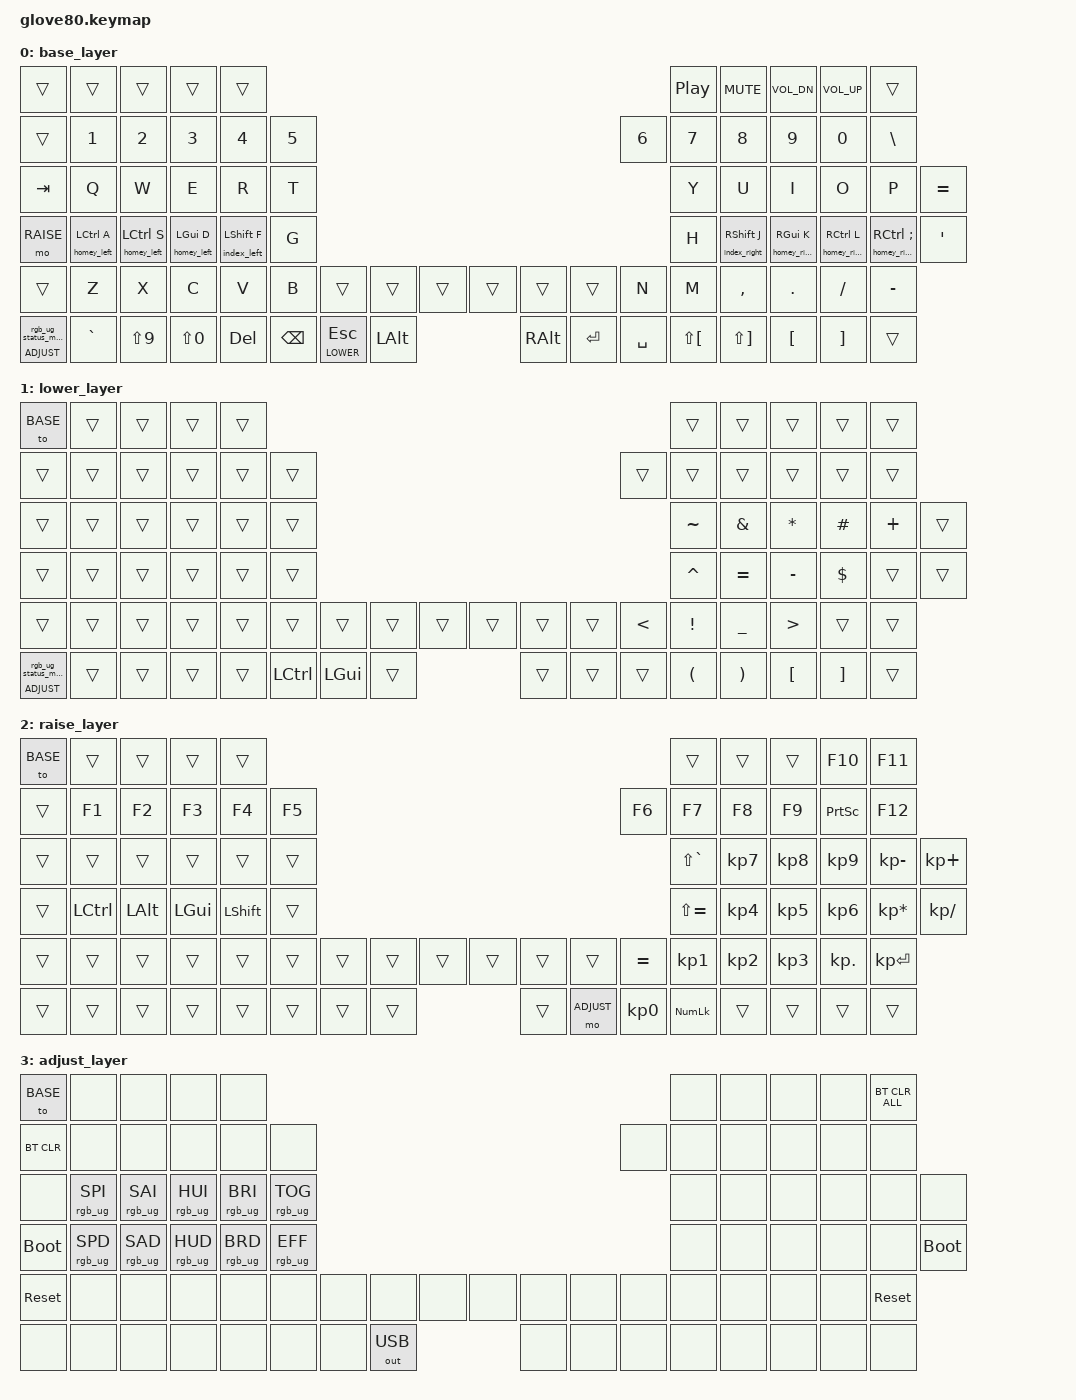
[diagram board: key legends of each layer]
/*
 * Copyright (c) 2020 The ZMK Contributors
 * Copyright (c) 2023 Innaworks Development Limited, trading as MoErgo
 *
 * SPDX-License-Identifier: MIT
 */

#include <behaviors.dtsi>
#include <dt-bindings/zmk/keys.h>
#include <dt-bindings/zmk/bt.h>
#include <dt-bindings/zmk/outputs.h>
#include <dt-bindings/zmk/rgb.h>

/* Include the shared configuration */
#include "../../includes/behaviors.dtsi"
#include "../../includes/layers.dtsi"

/* Include Glove80-specific behaviors */
#include "glove80_behaviors.dtsi"

#define HYPER LC(LS(LG(LALT)))

// layers
#define DEFAULT 0
#define LOWER 1
#define MAGIC 2
#define FACTORY_TEST 3

/ {
    behaviors {
        // For the "layer" key, it'd nice to be able to use it as either a shift or a toggle.
        // Configure it as a tap dance, so the first tap (or hold) is a &mo and the second tap is a &to
        layer_td: layer_tap_dance {
            compatible = "zmk,behavior-tap-dance";
            label = "LAYER_TAP_DANCE";
            #binding-cells = <0>;
            tapping-term-ms = <200>;
            bindings = <&mo LOWER>, <&to LOWER>;
        };

        magic: magic {
            compatible = "zmk,behavior-hold-tap";
            label = "MAGIC_HOLD_TAP";
            #binding-cells = <2>;
            flavor = "tap-preferred";
            tapping-term-ms = <200>;
            bindings = <&mo>, <&rgb_ug_status_macro>;
        };
    };

    macros {
        rgb_ug_status_macro: rgb_ug_status_macro {
            label = "RGB_UG_STATUS";
            compatible = "zmk,behavior-macro";
            #binding-cells = <0>;
            bindings = <&rgb_ug RGB_STATUS>;
        };

        bt_0: bt_profile_macro_0 {
            compatible = "zmk,behavior-macro";
            #binding-cells = <0>;
            bindings
                = <&out OUT_BLE>,
                  <&bt BT_SEL 0>;
        };

        bt_1: bt_profile_macro_1 {
            compatible = "zmk,behavior-macro";
            #binding-cells = <0>;
            bindings
                = <&out OUT_BLE>,
                  <&bt BT_SEL 1>;
        };

        bt_2: bt_profile_macro_2 {
            compatible = "zmk,behavior-macro";
            #binding-cells = <0>;
            bindings
                = <&out OUT_BLE>,
                  <&bt BT_SEL 2>;
        };

        bt_3: bt_profile_macro_3 {
            compatible = "zmk,behavior-macro";
            #binding-cells = <0>;
            bindings
                = <&out OUT_BLE>,
                  <&bt BT_SEL 3>;
        };
    };

    keymap {
        compatible = "zmk,keymap";

        base_layer {
            bindings = <
               &trans               &trans               &trans              &trans               &trans                                                                                           &kp C_PP           &kp C_MUTE          &kp C_VOL_DN             &kp C_VOL_UP     &trans
               &trans               &kp N1               &kp N2              &kp N3               &kp N4  &kp N5                                                               &kp N6                &kp N7               &kp N8                &kp N9                   &kp N0   &kp BSLH
              &kp TAB                &kp Q                &kp W               &kp E                &kp R   &kp T                                                                &kp Y                 &kp U                &kp I                 &kp O                    &kp P  &kp EQUAL
                &mo RAISE  &homey_left LCTRL A  &homey_left LCTRL S  &homey_left LGUI D  &index_left LSHFT F   &kp G                                                                &kp H  &index_right RSHFT J  &homey_right RGUI K  &homey_right RCTRL L  &homey_right RCTRL SEMI    &kp SQT
               &trans                &kp Z                &kp X               &kp C                &kp V   &kp B    &trans     &trans    &trans    &trans   &trans     &trans   &kp N                 &kp M            &kp COMMA               &kp DOT                 &kp FSLH  &kp MINUS
 &magic ADJUST 0            &kp GRAVE           &kp LS(N9)          &kp LS(N0)              &kp DEL          &kp BSPC  &lt LOWER ESC  &kp LALT  &kp RALT  &kp RET  &kp SPACE                  &kp LS(LBKT)         &kp LS(RBKT)              &kp LBKT                 &kp RBKT     &trans
            >;
        };

        lower_layer {
            bindings = <
                &to BASE  &trans  &trans  &trans  &trans                                                                             &trans     &trans    &trans    &trans  &trans
               &trans  &trans  &trans  &trans  &trans  &trans                                                          &trans     &trans     &trans    &trans    &trans  &trans
               &trans  &trans  &trans  &trans  &trans  &trans                                                       &kp TILDE   &kp AMPS   &kp STAR  &kp HASH  &kp PLUS  &trans
               &trans  &trans  &trans  &trans  &trans  &trans                                                       &kp CARET  &kp EQUAL  &kp MINUS  &kp DLLR    &trans  &trans
               &trans  &trans  &trans  &trans  &trans  &trans     &trans    &trans  &trans  &trans  &trans  &trans     &kp LT   &kp EXCL  &kp UNDER    &kp GT    &trans  &trans
 &magic ADJUST 0  &trans  &trans  &trans  &trans          &kp LCTRL  &kp LGUI  &trans  &trans  &trans  &trans              &kp LPAR   &kp RPAR  &kp LBKT  &kp RBKT  &trans
            >;
        };

        raise_layer {
            bindings = <
                &to BASE  &trans  &trans  &trans  &trans                                                                              &trans      &trans   &trans        &kp F10       &kp F11
               &trans     &kp F1    &kp F2    &kp F3     &kp F4  &kp F5                                                          &kp F6      &kp F7      &kp F8   &kp F9      &kp PSCRN       &kp F12
               &trans     &trans    &trans    &trans     &trans  &trans                                                   &kp LS(GRAVE)      &kp KP_N7      &kp KP_N8   &kp KP_N9       &kp KP_MINUS  &kp KP_PLUS
               &trans  &kp LCTRL  &kp LALT  &kp LGUI  &kp LSHFT  &trans                                                   &kp LS(EQUAL)      &kp KP_N4      &kp KP_N5   &kp KP_N6      &kp KP_MULTIPLY &kp KP_DIVIDE
               &trans     &trans    &trans    &trans     &trans  &trans  &trans  &trans  &trans  &trans   &trans  &trans      &kp EQUAL      &kp KP_N1      &kp KP_N2   &kp KP_N3  &kp KP_DOT &kp KP_ENTER
               &trans     &trans    &trans    &trans     &trans          &trans  &trans  &trans  &trans  &mo ADJUST  &kp KP_N0                 &kp KP_NUM  &trans  &trans         &trans        &trans
            >;
        };

        adjust_layer {
            bindings = <
       &to BASE            &none            &none            &none            &none                                                                                  &none   &none   &none   &none  &bt BT_CLR_ALL
  &bt BT_CLR            &none            &none            &none            &none            &none                                                         &none   &none   &none   &none   &none           &none
       &none  &rgb_ug RGB_SPI  &rgb_ug RGB_SAI  &rgb_ug RGB_HUI  &rgb_ug RGB_BRI  &rgb_ug RGB_TOG                                                         &none   &none   &none   &none   &none           &none
 &bootloader  &rgb_ug RGB_SPD  &rgb_ug RGB_SAD  &rgb_ug RGB_HUD  &rgb_ug RGB_BRD  &rgb_ug RGB_EFF                                                         &none   &none   &none   &none   &none     &bootloader
  &sys_reset            &none            &none            &none            &none            &none   &none   &none         &none   &none   &none   &none   &none   &none   &none   &none   &none      &sys_reset
       &none            &none            &none            &none            &none                    &none   &none  &out OUT_USB   &none   &none   &none           &none   &none   &none   &none           &none
            >;
        };
    };
};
